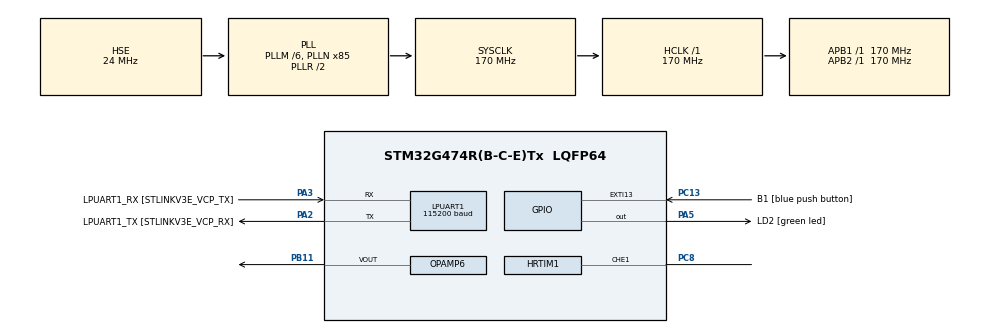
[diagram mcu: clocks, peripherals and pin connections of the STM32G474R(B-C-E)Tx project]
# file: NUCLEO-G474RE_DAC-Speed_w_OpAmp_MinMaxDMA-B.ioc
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DAC3.DAC_HighFrequency_OUT1-DAC_OUT1_Int=DAC_HIGH_FREQUENCY_INTERFACE_MODE_ABOVE_160MHZ
DAC3.DAC_Trigger_OUT1-DAC_OUT1_Int=DAC_TRIGGER_HRTIM_RST_TRG1
Dma.DAC3_CH1.0.Direction=DMA_MEMORY_TO_PERIPH
Dma.DAC3_CH1.0.EventEnable=DISABLE
Dma.DAC3_CH1.0.Instance=DMA1_Channel1
Dma.DAC3_CH1.0.MemDataAlignment=DMA_MDATAALIGN_HALFWORD
Dma.DAC3_CH1.0.MemInc=DMA_MINC_ENABLE
Dma.DAC3_CH1.0.Mode=DMA_CIRCULAR
Dma.DAC3_CH1.0.PeriphDataAlignment=DMA_PDATAALIGN_HALFWORD
Dma.DAC3_CH1.0.PeriphInc=DMA_PINC_DISABLE
Dma.DAC3_CH1.0.Polarity=HAL_DMAMUX_REQ_GEN_RISING
Dma.DAC3_CH1.0.Priority=DMA_PRIORITY_HIGH
Dma.DAC3_CH1.0.RequestNumber=1
Dma.DAC3_CH1.0.SignalID=NONE
Dma.DAC3_CH1.0.SyncEnable=DISABLE
Dma.DAC3_CH1.0.SyncPolarity=HAL_DMAMUX_SYNC_NO_EVENT
Dma.DAC3_CH1.0.SyncRequestNumber=1
Dma.DAC3_CH1.0.SyncSignalID=NONE
Dma.Request0=DAC3_CH1
HRTIM1.ADCTrigger_Id3=__NULL
HRTIM1.CompareUnit1-Output_TE1=HRTIM_COMPAREUNIT_1
HRTIM1.DACSynchro-MasterTimer=HRTIM_DACSYNC_DACTRIGOUT_3
HRTIM1.DACSynchro-Output_TE1=HRTIM_DACSYNC_NONE
HRTIM1.Event_EEV3=__NULL
HRTIM1.InterleavedMode-Output_TE1=HRTIM_INTERLEAVED_MODE_DUAL
HRTIM1.InterruptRequests1-Output_TE1=HRTIM_TIM_IT_RST
HRTIM1.InterruptRequests1_Master=HRTIM_MASTER_IT_MUPD
HRTIM1.NumberInterruptRequests-Output_TE1=1
HRTIM1.NumberInterruptRequests_Master-MasterTimer=1
HRTIM1.NumberResetSource1-Output_TE1=1
HRTIM1.NumberResetTrigger-Output_TE1=1
HRTIM1.NumberSetSource1-Output_TE1=1
HRTIM1.NumberUpdateTrigger-Output_TE1=1
HRTIM1.Periode_MASTER=54400
HRTIM1.Periode_TE=54400
HRTIM1.PreloadEnable-Output_TE1=HRTIM_PRELOAD_ENABLED
HRTIM1.ReSyncUpdate-Output_TE1=HRTIM_TIMERESYNC_UPDATE_CONDITIONAL
HRTIM1.RepetitionCounter-Output_TE1=1
HRTIM1.RepetitionUpdate-MasterTimer=HRTIM_UPDATEONREPETITION_ENABLED
HRTIM1.RepetitionUpdate-Output_TE1=HRTIM_UPDATEONREPETITION_ENABLED
HRTIM1.ResetOutput1_Source1-Output_TE1=HRTIM_OUTPUTRESET_TIMCMP1
HRTIM1.ResetTrigger1-Output_TE1=HRTIM_TIMRESETTRIGGER_UPDATE
HRTIM1.ResetUpdate-Output_TE1=HRTIM_TIMUPDATEONRESET_ENABLED
HRTIM1.SetOutput1_Source1-Output_TE1=HRTIM_OUTPUTSET_TIMPER
HRTIM1.UpdateTrigger1-Output_TE1=HRTIM_TIMUPDATETRIGGER_TIMER_E
LPUART1.BaudRate=115200
LPUART1.WordLength=UART_WORDLENGTH_8B
Mcu.Family=STM32G4
Mcu.Name=STM32G474R(B-C-E)Tx
Mcu.Package=LQFP64
NVIC.DMA1_Channel1_IRQn=true\:0\:0\:false\:false\:true\:false\:true
NVIC.EXTI15_10_IRQn=true\:0\:0\:false\:false\:true\:true\:true
NVIC.HRTIM1_Master_IRQn=true\:0\:0\:false\:false\:true\:true\:true
NVIC.HRTIM1_TIME_IRQn=true\:0\:0\:false\:false\:true\:true\:true
NVIC.PriorityGroup=NVIC_PRIORITYGROUP_4
OPAMP6.PowerMode=OPAMP_POWERMODE_HIGHSPEED
PA13.GPIO_Label=T_SWDIO
PA13.Mode=Trace_Asynchronous_SW
PA13.Signal=SYS_JTMS-SWDIO
PA14.GPIO_Label=T_SWCLK
PA14.Mode=Trace_Asynchronous_SW
PA14.Signal=SYS_JTCK-SWCLK
PA2.GPIO_Label=LPUART1_TX [STLINKV3E_VCP_RX]
PA2.Mode=Asynchronous
PA2.Signal=LPUART1_TX
PA3.GPIO_Label=LPUART1_RX [STLINKV3E_VCP_TX]
PA3.Mode=Asynchronous
PA3.Signal=LPUART1_RX
PA5.GPIO_Label=LD2 [green led]
PA5.Signal=GPIO_Output
PB11.Mode=Follower-DAC_OUT2-INP
PB11.Signal=OPAMP6_VOUT
PB3.GPIO_Label=T_SWO
PB3.Mode=Trace_Asynchronous_SW
PB3.Signal=SYS_JTDO-SWO
PC13.GPIO_Label=B1 [blue push button]
PC13.Signal=GPXTI13
PC14-OSC32_IN.Mode=LSE-External-Oscillator
PC14-OSC32_IN.Signal=RCC_OSC32_IN
PC15-OSC32_OUT.Mode=LSE-External-Oscillator
PC15-OSC32_OUT.Signal=RCC_OSC32_OUT
PC8.Mode=Output_TE1
PC8.Signal=HRTIM1_CHE1
PF0-OSC_IN.Mode=HSE-External-Oscillator
PF0-OSC_IN.Signal=RCC_OSC_IN
PF1-OSC_OUT.Mode=HSE-External-Oscillator
PF1-OSC_OUT.Signal=RCC_OSC_OUT
ProjectManager.HeapSize=0x200
ProjectManager.StackSize=0x400
ProjectManager.TargetToolchain=STM32CubeIDE
RCC.ADC12Freq_Value=170000000
RCC.ADC345Freq_Value=170000000
RCC.AHBFreq_Value=170000000
RCC.APB1Freq_Value=170000000
RCC.APB1TimFreq_Value=170000000
RCC.APB2Freq_Value=170000000
RCC.APB2TimFreq_Value=170000000
RCC.CortexFreq_Value=170000000
RCC.EXTERNAL_CLOCK_VALUE=12288000
RCC.HCLKFreq_Value=170000000
RCC.HSE_VALUE=24000000
RCC.HSI48_VALUE=48000000
RCC.HSI_VALUE=16000000
RCC.PLLM=RCC_PLLM_DIV6
RCC.PLLN=85
RCC.PLLSourceVirtual=RCC_PLLSOURCE_HSE
RCC.RTCClockSelection=RCC_RTCCLKSOURCE_LSE
RCC.SYSCLKFreq_VALUE=170000000
RCC.SYSCLKSource=RCC_SYSCLKSOURCE_PLLCLK
RCC.USBFreq_Value=170000000
RCC.VCOOutputFreq_Value=340000000
VP_DAC3_VS_DACI1.Mode=DAC_OUT1_Int
VP_HRTIM1_VS_hrtimMasterTimerNoOutput.Mode=MasterTimer
VP_SYS_VS_DBSignals.Mode=DisableDeadBatterySignals
board=NUCLEO-G474RE

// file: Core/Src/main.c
/* USER CODE BEGIN Header */
/**
  ******************************************************************************
  * @file           : main.c
  * @brief          : Main program body
  ******************************************************************************
  * @attention
  *
  * <h2><center>&copy; Copyright (c) 2021 STMicroelectronics.
  * All rights reserved.</center></h2>
  *
  * This software component is licensed by ST under BSD 3-Clause license,
  * the "License"; You may not use this file except in compliance with the
  * License. You may obtain a copy of the License at:
  *                        opensource.org/licenses/BSD-3-Clause
  *
  ******************************************************************************
  */
/* USER CODE END Header */
#include "main.h"

/* USER CODE BEGIN PD */

#define MinMaxsamples_SIZE       (sizeof (MinMaxsamples) / sizeof (uint16_t))

/* USER CODE END PD */

HRTIM_HandleTypeDef hhrtim1;

UART_HandleTypeDef hlpuart1;

/* USER CODE BEGIN PV */

uint16_t MinMaxsamples[] = {0x00 , 0xfff};

/* USER CODE END PV */

void SystemClock_Config(void);
static void MX_GPIO_Init(void);
static void MX_DMA_Init(void);
static void MX_LPUART1_UART_Init(void);
static void MX_DAC3_Init(void);
static void MX_HRTIM1_Init(void);
static void MX_OPAMP6_Init(void);
/* USER CODE BEGIN PFP */

void LL_DAC3_EnableDMA(void);
void Activate_DAC(void);
void Activate_OPAMP(void);
static void HRTIM1_Start_Output(void);

/* USER CODE END PFP */

int main(void)
{

  /* MCU Configuration--------------------------------------------------------*/

  /* Reset of all peripherals, Initializes the Flash interface and the Systick. */
  HAL_Init();

  /* Configure the system clock */
  SystemClock_Config();

  /* Initialize all configured peripherals */
  MX_GPIO_Init();
  MX_DMA_Init();
  MX_LPUART1_UART_Init();
  MX_DAC3_Init();
  MX_HRTIM1_Init();
  MX_OPAMP6_Init();
  /* USER CODE BEGIN 2 */

  Activate_DAC();
  Activate_OPAMP();
  LL_DAC3_EnableDMA();

  HRTIM1_Start_Output();

//  GPIOA->BSRR = (1<<5);
  /* USER CODE END 2 */

  /* Infinite loop */
  /* USER CODE BEGIN WHILE */
  while (1)
  {
//	  GPIOA->BSRR = (1<<5);
    /* USER CODE END WHILE */

  }
}

void SystemClock_Config(void)
{
  RCC_OscInitTypeDef RCC_OscInitStruct = {0};
  RCC_ClkInitTypeDef RCC_ClkInitStruct = {0};
  RCC_PeriphCLKInitTypeDef PeriphClkInit = {0};

  /** Configure the main internal regulator output voltage
  */
  HAL_PWREx_ControlVoltageScaling(PWR_REGULATOR_VOLTAGE_SCALE1_BOOST);
  /** Initializes the RCC Oscillators according to the specified parameters
  * in the RCC_OscInitTypeDef structure.
  */
  RCC_OscInitStruct.OscillatorType = RCC_OSCILLATORTYPE_HSE;
  RCC_OscInitStruct.HSEState = RCC_HSE_ON;
  RCC_OscInitStruct.PLL.PLLState = RCC_PLL_ON;
  RCC_OscInitStruct.PLL.PLLSource = RCC_PLLSOURCE_HSE;
  RCC_OscInitStruct.PLL.PLLM = RCC_PLLM_DIV6;
  RCC_OscInitStruct.PLL.PLLN = 85;
  RCC_OscInitStruct.PLL.PLLP = RCC_PLLP_DIV2;
  RCC_OscInitStruct.PLL.PLLQ = RCC_PLLQ_DIV2;
  RCC_OscInitStruct.PLL.PLLR = RCC_PLLR_DIV2;
  if (HAL_RCC_OscConfig(&RCC_OscInitStruct) != HAL_OK)
  {
    Error_Handler();
  }
  /** Initializes the CPU, AHB and APB buses clocks
  */
  RCC_ClkInitStruct.ClockType = RCC_CLOCKTYPE_HCLK|RCC_CLOCKTYPE_SYSCLK
                              |RCC_CLOCKTYPE_PCLK1|RCC_CLOCKTYPE_PCLK2;
  RCC_ClkInitStruct.SYSCLKSource = RCC_SYSCLKSOURCE_PLLCLK;
  RCC_ClkInitStruct.AHBCLKDivider = RCC_SYSCLK_DIV1;
  RCC_ClkInitStruct.APB1CLKDivider = RCC_HCLK_DIV1;
  RCC_ClkInitStruct.APB2CLKDivider = RCC_HCLK_DIV1;

  if (HAL_RCC_ClockConfig(&RCC_ClkInitStruct, FLASH_LATENCY_4) != HAL_OK)
  {
    Error_Handler();
  }
  /** Initializes the peripherals clocks
  */
  PeriphClkInit.PeriphClockSelection = RCC_PERIPHCLK_LPUART1;
  PeriphClkInit.Lpuart1ClockSelection = RCC_LPUART1CLKSOURCE_PCLK1;
  if (HAL_RCCEx_PeriphCLKConfig(&PeriphClkInit) != HAL_OK)
  {
    Error_Handler();
  }
}

static void MX_DAC3_Init(void)
{

  LL_DAC_InitTypeDef DAC_InitStruct = {0};

  /* Peripheral clock enable */
  LL_AHB2_GRP1_EnableClock(LL_AHB2_GRP1_PERIPH_DAC3);

  /* DAC3 DMA Init */

  /* DAC3_CH1 Init */
  LL_DMA_SetPeriphRequest(DMA1, LL_DMA_CHANNEL_1, LL_DMAMUX_REQ_DAC3_CH1);

  LL_DMA_SetDataTransferDirection(DMA1, LL_DMA_CHANNEL_1, LL_DMA_DIRECTION_MEMORY_TO_PERIPH);

  LL_DMA_SetChannelPriorityLevel(DMA1, LL_DMA_CHANNEL_1, LL_DMA_PRIORITY_HIGH);

  LL_DMA_SetMode(DMA1, LL_DMA_CHANNEL_1, LL_DMA_MODE_CIRCULAR);

  LL_DMA_SetPeriphIncMode(DMA1, LL_DMA_CHANNEL_1, LL_DMA_PERIPH_NOINCREMENT);

  LL_DMA_SetMemoryIncMode(DMA1, LL_DMA_CHANNEL_1, LL_DMA_MEMORY_INCREMENT);

  LL_DMA_SetPeriphSize(DMA1, LL_DMA_CHANNEL_1, LL_DMA_PDATAALIGN_HALFWORD);

  LL_DMA_SetMemorySize(DMA1, LL_DMA_CHANNEL_1, LL_DMA_MDATAALIGN_HALFWORD);

  /** DAC channel OUT1 config
  */
  LL_DAC_SetHighFrequencyMode(DAC3, LL_DAC_HIGH_FREQ_MODE_ABOVE_160MHZ);
  LL_DAC_SetSignedFormat(DAC3, LL_DAC_CHANNEL_1, LL_DAC_SIGNED_FORMAT_DISABLE);
  DAC_InitStruct.TriggerSource = LL_DAC_TRIG_EXT_HRTIM_RST_TRG1;
  DAC_InitStruct.TriggerSource2 = LL_DAC_TRIG_SOFTWARE;
  DAC_InitStruct.WaveAutoGeneration = LL_DAC_WAVE_AUTO_GENERATION_NONE;
  DAC_InitStruct.OutputBuffer = LL_DAC_OUTPUT_BUFFER_DISABLE;
  DAC_InitStruct.OutputConnection = LL_DAC_OUTPUT_CONNECT_INTERNAL;
  DAC_InitStruct.OutputMode = LL_DAC_OUTPUT_MODE_NORMAL;
  LL_DAC_Init(DAC3, LL_DAC_CHANNEL_1, &DAC_InitStruct);
  LL_DAC_EnableTrigger(DAC3, LL_DAC_CHANNEL_1);
  LL_DAC_DisableDMADoubleDataMode(DAC3, LL_DAC_CHANNEL_1);

}

static void MX_HRTIM1_Init(void)
{

  HRTIM_TimeBaseCfgTypeDef pTimeBaseCfg = {0};
  HRTIM_TimerCfgTypeDef pTimerCfg = {0};
  HRTIM_TimerCtlTypeDef pTimerCtl = {0};
  HRTIM_OutputCfgTypeDef pOutputCfg = {0};

  hhrtim1.Instance = HRTIM1;
  hhrtim1.Init.HRTIMInterruptResquests = HRTIM_IT_NONE;
  hhrtim1.Init.SyncOptions = HRTIM_SYNCOPTION_NONE;
  if (HAL_HRTIM_Init(&hhrtim1) != HAL_OK)
  {
    Error_Handler();
  }
  if (HAL_HRTIM_DLLCalibrationStart(&hhrtim1, HRTIM_CALIBRATIONRATE_3) != HAL_OK)
  {
    Error_Handler();
  }
  if (HAL_HRTIM_PollForDLLCalibration(&hhrtim1, 10) != HAL_OK)
  {
    Error_Handler();
  }
  pTimeBaseCfg.Period = 54400;
  pTimeBaseCfg.RepetitionCounter = 0x00;
  pTimeBaseCfg.PrescalerRatio = HRTIM_PRESCALERRATIO_MUL32;
  pTimeBaseCfg.Mode = HRTIM_MODE_CONTINUOUS;
  if (HAL_HRTIM_TimeBaseConfig(&hhrtim1, HRTIM_TIMERINDEX_MASTER, &pTimeBaseCfg) != HAL_OK)
  {
    Error_Handler();
  }
  pTimerCfg.InterruptRequests = HRTIM_MASTER_IT_MUPD;
  pTimerCfg.DMARequests = HRTIM_MASTER_DMA_NONE;
  pTimerCfg.DMASrcAddress = 0x0000;
  pTimerCfg.DMADstAddress = 0x0000;
  pTimerCfg.DMASize = 0x1;
  pTimerCfg.HalfModeEnable = HRTIM_HALFMODE_DISABLED;
  pTimerCfg.InterleavedMode = HRTIM_INTERLEAVED_MODE_DISABLED;
  pTimerCfg.StartOnSync = HRTIM_SYNCSTART_DISABLED;
  pTimerCfg.ResetOnSync = HRTIM_SYNCRESET_DISABLED;
  pTimerCfg.DACSynchro = HRTIM_DACSYNC_DACTRIGOUT_3;
  pTimerCfg.PreloadEnable = HRTIM_PRELOAD_DISABLED;
  pTimerCfg.UpdateGating = HRTIM_UPDATEGATING_INDEPENDENT;
  pTimerCfg.BurstMode = HRTIM_TIMERBURSTMODE_MAINTAINCLOCK;
  pTimerCfg.RepetitionUpdate = HRTIM_UPDATEONREPETITION_ENABLED;
  pTimerCfg.ReSyncUpdate = HRTIM_TIMERESYNC_UPDATE_UNCONDITIONAL;
  if (HAL_HRTIM_WaveformTimerConfig(&hhrtim1, HRTIM_TIMERINDEX_MASTER, &pTimerCfg) != HAL_OK)
  {
    Error_Handler();
  }
  pTimeBaseCfg.RepetitionCounter = 1;
  if (HAL_HRTIM_TimeBaseConfig(&hhrtim1, HRTIM_TIMERINDEX_TIMER_E, &pTimeBaseCfg) != HAL_OK)
  {
    Error_Handler();
  }
  pTimerCtl.UpDownMode = HRTIM_TIMERUPDOWNMODE_UP;
  pTimerCtl.GreaterCMP1 = HRTIM_TIMERGTCMP1_EQUAL;
  pTimerCtl.DualChannelDacEnable = HRTIM_TIMER_DCDE_DISABLED;
  if (HAL_HRTIM_WaveformTimerControl(&hhrtim1, HRTIM_TIMERINDEX_TIMER_E, &pTimerCtl) != HAL_OK)
  {
    Error_Handler();
  }
  pTimerCfg.InterruptRequests = HRTIM_MASTER_IT_MUPD;
  pTimerCfg.DMARequests = HRTIM_TIM_DMA_NONE;
  pTimerCfg.DMASrcAddress = 0x0000;
  pTimerCfg.DMADstAddress = 0x0000;
  pTimerCfg.DMASize = 0x1;
  pTimerCfg.InterleavedMode = HRTIM_INTERLEAVED_MODE_DUAL;
  pTimerCfg.DACSynchro = HRTIM_DACSYNC_NONE;
  pTimerCfg.PreloadEnable = HRTIM_PRELOAD_ENABLED;
  pTimerCfg.PushPull = HRTIM_TIMPUSHPULLMODE_DISABLED;
  pTimerCfg.FaultEnable = HRTIM_TIMFAULTENABLE_NONE;
  pTimerCfg.FaultLock = HRTIM_TIMFAULTLOCK_READWRITE;
  pTimerCfg.DeadTimeInsertion = HRTIM_TIMDEADTIMEINSERTION_DISABLED;
  pTimerCfg.DelayedProtectionMode = HRTIM_TIMER_D_E_DELAYEDPROTECTION_DISABLED;
  pTimerCfg.UpdateTrigger = HRTIM_TIMUPDATETRIGGER_TIMER_E;
  pTimerCfg.ResetTrigger = HRTIM_TIMRESETTRIGGER_UPDATE;
  pTimerCfg.ResetUpdate = HRTIM_TIMUPDATEONRESET_ENABLED;
  pTimerCfg.ReSyncUpdate = HRTIM_TIMERESYNC_UPDATE_CONDITIONAL;
  if (HAL_HRTIM_WaveformTimerConfig(&hhrtim1, HRTIM_TIMERINDEX_TIMER_E, &pTimerCfg) != HAL_OK)
  {
    Error_Handler();
  }
  pOutputCfg.Polarity = HRTIM_OUTPUTPOLARITY_HIGH;
  pOutputCfg.SetSource = HRTIM_OUTPUTSET_TIMPER;
  pOutputCfg.ResetSource = HRTIM_OUTPUTRESET_TIMCMP1;
  pOutputCfg.IdleMode = HRTIM_OUTPUTIDLEMODE_NONE;
  pOutputCfg.IdleLevel = HRTIM_OUTPUTIDLELEVEL_INACTIVE;
  pOutputCfg.FaultLevel = HRTIM_OUTPUTFAULTLEVEL_NONE;
  pOutputCfg.ChopperModeEnable = HRTIM_OUTPUTCHOPPERMODE_DISABLED;
  pOutputCfg.BurstModeEntryDelayed = HRTIM_OUTPUTBURSTMODEENTRY_REGULAR;
  if (HAL_HRTIM_WaveformOutputConfig(&hhrtim1, HRTIM_TIMERINDEX_TIMER_E, HRTIM_OUTPUT_TE1, &pOutputCfg) != HAL_OK)
  {
    Error_Handler();
  }
  HAL_HRTIM_MspPostInit(&hhrtim1);

}

static void MX_LPUART1_UART_Init(void)
{

  hlpuart1.Instance = LPUART1;
  hlpuart1.Init.BaudRate = 115200;
  hlpuart1.Init.WordLength = UART_WORDLENGTH_8B;
  hlpuart1.Init.StopBits = UART_STOPBITS_1;
  hlpuart1.Init.Parity = UART_PARITY_NONE;
  hlpuart1.Init.Mode = UART_MODE_TX_RX;
  hlpuart1.Init.HwFlowCtl = UART_HWCONTROL_NONE;
  hlpuart1.Init.OneBitSampling = UART_ONE_BIT_SAMPLE_DISABLE;
  hlpuart1.Init.ClockPrescaler = UART_PRESCALER_DIV1;
  hlpuart1.AdvancedInit.AdvFeatureInit = UART_ADVFEATURE_NO_INIT;
  if (HAL_UART_Init(&hlpuart1) != HAL_OK)
  {
    Error_Handler();
  }
  if (HAL_UARTEx_SetTxFifoThreshold(&hlpuart1, UART_TXFIFO_THRESHOLD_1_8) != HAL_OK)
  {
    Error_Handler();
  }
  if (HAL_UARTEx_SetRxFifoThreshold(&hlpuart1, UART_RXFIFO_THRESHOLD_1_8) != HAL_OK)
  {
    Error_Handler();
  }
  if (HAL_UARTEx_DisableFifoMode(&hlpuart1) != HAL_OK)
  {
    Error_Handler();
  }

}

static void MX_OPAMP6_Init(void)
{

  LL_OPAMP_InitTypeDef OPAMP_InitStruct = {0};

  LL_GPIO_InitTypeDef GPIO_InitStruct = {0};

  LL_AHB2_GRP1_EnableClock(LL_AHB2_GRP1_PERIPH_GPIOB);
  /**OPAMP6 GPIO Configuration
  PB11   ------> OPAMP6_VOUT
  */
  GPIO_InitStruct.Pin = LL_GPIO_PIN_11;
  GPIO_InitStruct.Mode = LL_GPIO_MODE_ANALOG;
  GPIO_InitStruct.Pull = LL_GPIO_PULL_NO;
  LL_GPIO_Init(GPIOB, &GPIO_InitStruct);

  OPAMP_InitStruct.PowerMode = LL_OPAMP_POWERMODE_HIGHSPEED;
  OPAMP_InitStruct.FunctionalMode = LL_OPAMP_MODE_FOLLOWER;
  OPAMP_InitStruct.InputNonInverting = LL_OPAMP_INPUT_NONINVERT_DAC;
  LL_OPAMP_Init(OPAMP6, &OPAMP_InitStruct);
  LL_OPAMP_SetInputsMuxMode(OPAMP6, LL_OPAMP_INPUT_MUX_DISABLE);
  LL_OPAMP_SetInternalOutput(OPAMP6, LL_OPAMP_INTERNAL_OUPUT_DISABLED);
  LL_OPAMP_SetTrimmingMode(OPAMP6, LL_OPAMP_TRIMMING_FACTORY);

}

static void MX_DMA_Init(void)
{

  /* Init with LL driver */
  /* DMA controller clock enable */
  LL_AHB1_GRP1_EnableClock(LL_AHB1_GRP1_PERIPH_DMAMUX1);
  LL_AHB1_GRP1_EnableClock(LL_AHB1_GRP1_PERIPH_DMA1);

  /* DMA interrupt init */
  /* DMA1_Channel1_IRQn interrupt configuration */
  NVIC_SetPriority(DMA1_Channel1_IRQn, NVIC_EncodePriority(NVIC_GetPriorityGrouping(),0, 0));
  NVIC_EnableIRQ(DMA1_Channel1_IRQn);

}

static void MX_GPIO_Init(void)
{
  GPIO_InitTypeDef GPIO_InitStruct = {0};

  /* GPIO Ports Clock Enable */
  __HAL_RCC_GPIOC_CLK_ENABLE();
  __HAL_RCC_GPIOF_CLK_ENABLE();
  __HAL_RCC_GPIOA_CLK_ENABLE();
  __HAL_RCC_GPIOB_CLK_ENABLE();

  /*Configure GPIO pin Output Level */
  HAL_GPIO_WritePin(LD2_GPIO_Port, LD2_Pin, GPIO_PIN_RESET);

  /*Configure GPIO pin : B1_Pin */
  GPIO_InitStruct.Pin = B1_Pin;
  GPIO_InitStruct.Mode = GPIO_MODE_IT_RISING;
  GPIO_InitStruct.Pull = GPIO_NOPULL;
  HAL_GPIO_Init(B1_GPIO_Port, &GPIO_InitStruct);

  /*Configure GPIO pin : LD2_Pin */
  GPIO_InitStruct.Pin = LD2_Pin;
  GPIO_InitStruct.Mode = GPIO_MODE_OUTPUT_PP;
  GPIO_InitStruct.Pull = GPIO_NOPULL;
  GPIO_InitStruct.Speed = GPIO_SPEED_FREQ_LOW;
  HAL_GPIO_Init(LD2_GPIO_Port, &GPIO_InitStruct);

  /* EXTI interrupt init*/
  HAL_NVIC_SetPriority(EXTI15_10_IRQn, 0, 0);
  HAL_NVIC_EnableIRQ(EXTI15_10_IRQn);

}

/* USER CODE BEGIN 4 */

void LL_DAC3_EnableDMA(void)
{
	  /* Set DMA transfer addresses of source and destination */
	  LL_DMA_ConfigAddresses(DMA1,
	                         LL_DMA_CHANNEL_1,
	                         (uint32_t)&MinMaxsamples,
	                         LL_DAC_DMA_GetRegAddr(DAC3, LL_DAC_CHANNEL_1, LL_DAC_DMA_REG_DATA_12BITS_RIGHT_ALIGNED),
	                         LL_DMA_DIRECTION_MEMORY_TO_PERIPH);

	  /* Set DMA transfer size */
	  LL_DMA_SetDataLength(DMA1,
	                       LL_DMA_CHANNEL_3,
						   MinMaxsamples_SIZE);

	  /* Enable DMA transfer interruption: transfer error */
	  LL_DMA_EnableIT_TE(DMA1,
	                     LL_DMA_CHANNEL_3);

	  /* Note: In this example, the only DMA interruption activated is            */
	  /*       transfer error.                                                     */
	  /*       If needed, DMA interruptions of half of transfer                   */
	  /*       and transfer complete can be activated.                            */
	  /*       Refer to DMA examples.                                             */

	  /* Activation of DMA */
	  /* Enable the DMA transfer */
	  LL_DMA_EnableChannel(DMA1,
	                       LL_DMA_CHANNEL_3);

	  /* Set DAC mode sample-and-hold timings */
	  // LL_DAC_SetSampleAndHoldSampleTime (DAC1, LL_DAC_CHANNEL_1, 0x3FF);
	  // LL_DAC_SetSampleAndHoldHoldTime   (DAC1, LL_DAC_CHANNEL_1, 0x3FF);
	  // LL_DAC_SetSampleAndHoldRefreshTime(DAC1, LL_DAC_CHANNEL_1, 0xFF);

	  /* Set the mode for the selected DAC channel */
	  // LL_DAC_SetMode(DAC1, LL_DAC_CHANNEL_1, LL_DAC_MODE_NORMAL_OPERATION);

	  /* Enable DAC channel DMA request */
	  LL_DAC_EnableDMAReq(DAC1, LL_DAC_CHANNEL_1);

	  /* Enable interruption DAC channel1 under-run */
	  LL_DAC_EnableIT_DMAUDR1(DAC1);
}

void Activate_DAC(void)
{
	__IO uint32_t wait_loop_index = 0;

	/* Enable DAC channel */
	LL_DAC_Enable(DAC3, LL_DAC_CHANNEL_1);

	/* Delay for DAC channel voltage settling time from DAC channel startup.    */
	/* Compute number of CPU cycles to wait for, from delay in us.              */
	/* Note: Variable divided by 2 to compensate partially                      */
	/*       CPU processing cycles (depends on compilation optimization).       */
	/* Note: If system core clock frequency is below 200kHz, wait time          */
	/*       is only a few CPU processing cycles.                               */
	wait_loop_index = ((LL_DAC_DELAY_STARTUP_VOLTAGE_SETTLING_US * (SystemCoreClock / (100000 * 2))) / 10);
	while(wait_loop_index != 0)
	{
		wait_loop_index--;
	}

	/* Enable DAC channel trigger */
	/* Note: DAC channel conversion can start from trigger enable:              */
	/*       - if DAC channel trigger source is set to SW:                      */
	/*         DAC channel conversion will start after trig order               */
	/*         using function "LL_DAC_TrigSWConversion()".                      */
	/*       - if DAC channel trigger source is set to external trigger         */
	/*         (timer, ...):                                                    */
	/*         DAC channel conversion can start immediately                     */
	/*         (after next trig order from external trigger)                    */
	LL_DAC_EnableTrigger(DAC3, LL_DAC_CHANNEL_1);
}

void Activate_OPAMP(void)
{
	__IO uint32_t wait_loop_index = 0;

	/* Enable OPAMP */
	LL_OPAMP_Enable(OPAMP6);

	/* Delay for OPAMP startup time.                                            */
	/* Compute number of CPU cycles to wait for, from delay in us.              */
	/* Note: Variable divided by 2 to compensate partially                      */
	/*       CPU processing cycles (depends on compilation optimization).       */
	/* Note: If system core clock frequency is below 200kHz, wait time          */
	/*       is only a few CPU processing cycles.                               */
	wait_loop_index = ((LL_OPAMP_DELAY_STARTUP_US * (SystemCoreClock / (100000 * 2))) / 10);
	while(wait_loop_index != 0)
	{
		wait_loop_index--;
	}
}

static void HRTIM1_Start_Output(void)
{
	hhrtim1.Instance = HRTIM1;

	HAL_HRTIM_WaveformOutputStart(&hhrtim1, HRTIM_OUTPUT_TE1 );
	HAL_HRTIM_WaveformCounterStart_IT(&hhrtim1, HRTIM_TIMERID_TIMER_E);
}

/* USER CODE END 4 */

void Error_Handler(void)
{
  __disable_irq();
  while (1)
  {
  }
}

/************************ (C) COPYRIGHT STMicroelectronics *****END OF FILE****/
